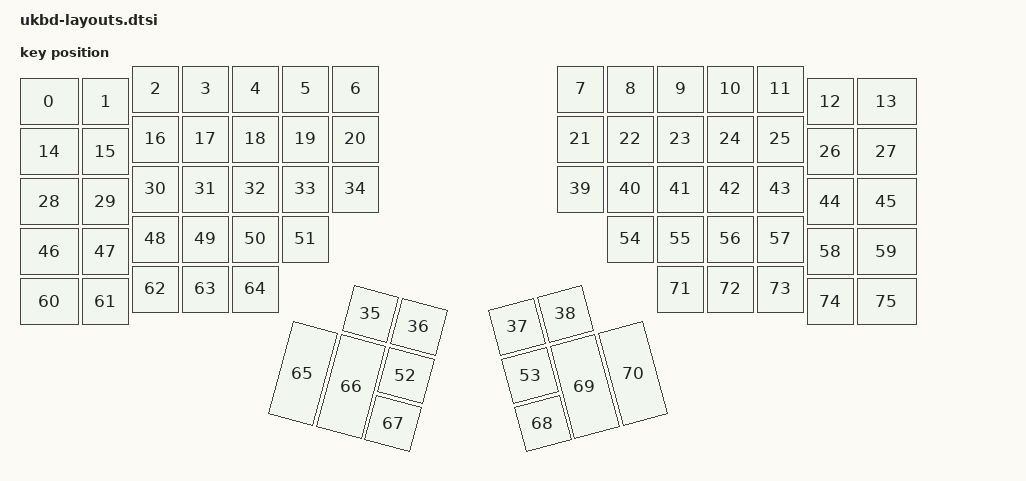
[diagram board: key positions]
#include <dt-bindings/zmk/matrix_transform.h>
#include <physical_layouts.dtsi>   /* нужно для keys{} в layout’ах */

/ {
    /* ---------- PHYSICAL LAYOUT: KINESIS (канонический 7×12) ---------- */

    ukbd_kinesis_layout: ukbd_kinesis_layout {
        compatible = "zmk,physical-layout";
        display-name = "ukbd Kinesis 7x12";

        /* transform и kscan мы будем приписывать в конкретном щите через &ukbd_kinesis_layout */
        /* здесь только keys, в порядке общего keymap’а (84 позиции) */

        keys
            = <&key_physical_attrs 125 100    0   25       0     0     0>
            , <&key_physical_attrs 100 100  125   25       0     0     0>
            , <&key_physical_attrs 100 100  225    0       0     0     0>
            , <&key_physical_attrs 100 100  325    0       0     0     0>
            , <&key_physical_attrs 100 100  425    0       0     0     0>
            , <&key_physical_attrs 100 100  525    0       0     0     0>
            , <&key_physical_attrs 100 100  625    0       0     0     0>
            , <&key_physical_attrs 100 100 1075    0       0     0     0>
            , <&key_physical_attrs 100 100 1175    0       0     0     0>
            , <&key_physical_attrs 100 100 1275    0       0     0     0>
            , <&key_physical_attrs 100 100 1375    0       0     0     0>
            , <&key_physical_attrs 100 100 1475    0       0     0     0>
            , <&key_physical_attrs 100 100 1575   25       0     0     0>
            , <&key_physical_attrs 125 100 1675   25       0     0     0>
            , <&key_physical_attrs 125 100    0  125       0     0     0>
            , <&key_physical_attrs 100 100  125  125       0     0     0>
            , <&key_physical_attrs 100 100  225  100       0     0     0>
            , <&key_physical_attrs 100 100  325  100       0     0     0>
            , <&key_physical_attrs 100 100  425  100       0     0     0>
            , <&key_physical_attrs 100 100  525  100       0     0     0>
            , <&key_physical_attrs 100 100  625  100       0     0     0>
            , <&key_physical_attrs 100 100 1075  100       0     0     0>
            , <&key_physical_attrs 100 100 1175  100       0     0     0>
            , <&key_physical_attrs 100 100 1275  100       0     0     0>
            , <&key_physical_attrs 100 100 1375  100       0     0     0>
            , <&key_physical_attrs 100 100 1475  100       0     0     0>
            , <&key_physical_attrs 100 100 1575  125       0     0     0>
            , <&key_physical_attrs 125 100 1675  125       0     0     0>
            , <&key_physical_attrs 125 100    0  225       0     0     0>
            , <&key_physical_attrs 100 100  125  225       0     0     0>
            , <&key_physical_attrs 100 100  225  200       0     0     0>
            , <&key_physical_attrs 100 100  325  200       0     0     0>
            , <&key_physical_attrs 100 100  425  200       0     0     0>
            , <&key_physical_attrs 100 100  525  200       0     0     0>
            , <&key_physical_attrs 100 100  625  200       0     0     0>
            , <&key_physical_attrs 100 100  675  400    1500   525   400>
            , <&key_physical_attrs 100 100  775  400    1500   525   400>
            , <&key_physical_attrs 100 100  925  400 (-1500)  1275   400>
            , <&key_physical_attrs 100 100 1025  400 (-1500)  1275   400>
            , <&key_physical_attrs 100 100 1075  200       0     0     0>
            , <&key_physical_attrs 100 100 1175  200       0     0     0>
            , <&key_physical_attrs 100 100 1275  200       0     0     0>
            , <&key_physical_attrs 100 100 1375  200       0     0     0>
            , <&key_physical_attrs 100 100 1475  200       0     0     0>
            , <&key_physical_attrs 100 100 1575  225       0     0     0>
            , <&key_physical_attrs 125 100 1675  225       0     0     0>
            , <&key_physical_attrs 125 100    0  325       0     0     0>
            , <&key_physical_attrs 100 100  125  325       0     0     0>
            , <&key_physical_attrs 100 100  225  300       0     0     0>
            , <&key_physical_attrs 100 100  325  300       0     0     0>
            , <&key_physical_attrs 100 100  425  300       0     0     0>
            , <&key_physical_attrs 100 100  525  300       0     0     0>
            , <&key_physical_attrs 100 100  775  500    1500   525   400>
            , <&key_physical_attrs 100 100  925  500 (-1500)  1275   400>
            , <&key_physical_attrs 100 100 1175  300       0     0     0>
            , <&key_physical_attrs 100 100 1275  300       0     0     0>
            , <&key_physical_attrs 100 100 1375  300       0     0     0>
            , <&key_physical_attrs 100 100 1475  300       0     0     0>
            , <&key_physical_attrs 100 100 1575  325       0     0     0>
            , <&key_physical_attrs 125 100 1675  325       0     0     0>
            , <&key_physical_attrs 125 100    0  425       0     0     0>
            , <&key_physical_attrs 100 100  125  425       0     0     0>
            , <&key_physical_attrs 100 100  225  400       0     0     0>
            , <&key_physical_attrs 100 100  325  400       0     0     0>
            , <&key_physical_attrs 100 100  425  400       0     0     0>
            , <&key_physical_attrs 100 200  575  500    1500   525   400>
            , <&key_physical_attrs 100 200  675  500    1500   525   400>
            , <&key_physical_attrs 100 100  775  600    1500   525   400>
            , <&key_physical_attrs 100 100  925  600 (-1500)  1275   400>
            , <&key_physical_attrs 100 200 1025  500 (-1500)  1275   400>
            , <&key_physical_attrs 100 200 1125  500 (-1500)  1275   400>
            , <&key_physical_attrs 100 100 1275  400       0     0     0>
            , <&key_physical_attrs 100 100 1375  400       0     0     0>
            , <&key_physical_attrs 100 100 1475  400       0     0     0>
            , <&key_physical_attrs 100 100 1575  425       0     0     0>
            , <&key_physical_attrs 125 100 1675  425       0     0     0>
            ;

    };


    /* ---------- PHYSICAL LAYOUT: TBKMINI (4×12, подмножество kinesis) ---------- */

    ukbd_tbkmini_layout: ukbd_tbkmini_layout {
        compatible = "zmk,physical-layout";
        display-name = "ukbd TBKMINI 4x12";

        /* keys — только те физические позиции, которые реально есть у tbkmini
         * порядок тут 1:1 с tbkmini-матрицей (4×12), т.е. с его keymap’ом (48 позиций) */

        keys
            = <&key_physical_attrs 100 100    0    0      0     0     0>   /* row0 col0 */
            , <&key_physical_attrs 100 100  100    0      0     0     0>   /* row0 col1 */
            , <&key_physical_attrs 100 100  200    0      0     0     0>   /* ... */
            /* ... ещё 45 штук, всего 48 ... */
            ;
    };

    /* ---------- POSITION MAP (связывает tbkmini с kinesis) ---------- */

    ukbd_position_map {
        compatible = "zmk,physical-layout-position-map";
        complete; /* говорим Studio, что сами всё описали */

        /* referential layout (канонический) */
        ukbd_kinesis_map: kinesis {
            physical-layout = <&ukbd_kinesis_layout>;
            positions
                /* просто 0..83 по порядку (7×12), для читаемости разбиваем на строки */
                = <  0  1  2  3  4  5  6  7  8  9 10 11 >
                , < 12 13 14 15 16 17 18 19 20 21 22 23 >
                , < 24 25 26 27 28 29 30 31 32 33 34 35 >
                , < 36 37 38 39 40 41 42 43 44 45 46 47 >
                , < 48 49 50 51 52 53 54 55 56 57 58 59 >
                , < 60 61 62 63 64 65 66 67 68 69 70 71 >
                , < 72 73 74 75 76 77 78 79 80 81 82 83 >
                ;
        };

                /* tbkmini — 48 позиций, каждая привязана к индексу в полном kinesis layout */
        ukbd_tbkmini_map: tbkmini {
            physical-layout = <&ukbd_tbkmini_layout>;
            positions
                /* пример: допустим, tbkmini использует первые 4 ряда kinesis (0..47) */
                = <  0  1  2  3  4  5  6  7  8  9 10 11 >
                , < 12 13 14 15 16 17 18 19 20 21 22 23 >
                , < 24 25 26 27 28 29 30 31 32 33 34 35 >
                , < 36 37 38 39 40 41 42 43 44 45 46 47 >
                ;
        };
    };
};

